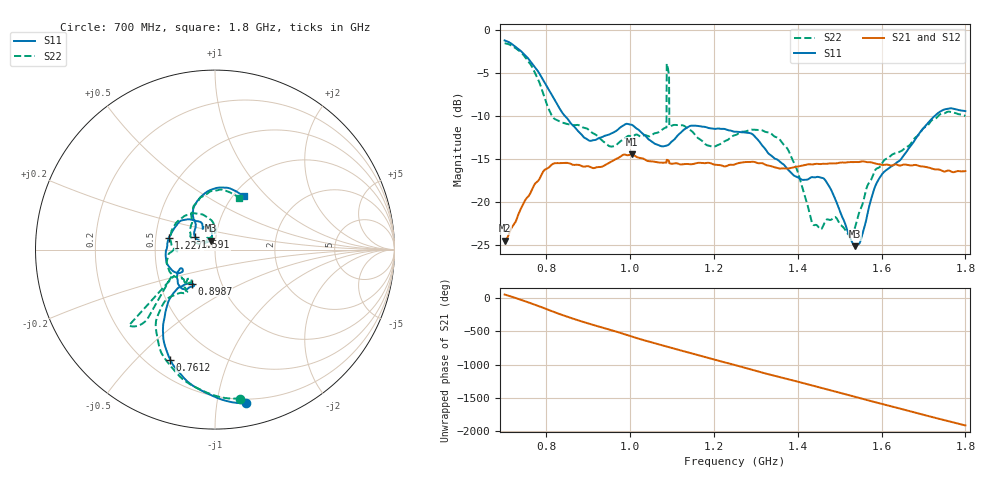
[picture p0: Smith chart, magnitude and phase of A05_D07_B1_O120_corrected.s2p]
! Created with skrf 1.9.0 (http://scikit-rf.org).
# Hz S RI R 50.0
!freq ReS11 ImS11 ReS21 ImS21 ReS12 ImS12 ReS22 ImS22
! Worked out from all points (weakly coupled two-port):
!   1601 points, 700 MHz to 1.8 GHz, reference 50 ohm
!   highest |S21| = -14.46 dB at 1.003 GHz (marker M1); lowest = -24.5 dB at 700.7 MHz (marker M2)
!   lowest |S11| = -25.2 dB at 1.536 GHz (marker M3), VSWR 1.12, Z = 47.4 + j4.7 ohm
!   |S11| at or under -10 dB: 844.4 MHz to 1.726 GHz (881.6 MHz wide, 68.6 % of centre)
!   |S22| runs from -23.8 to -1.5 dB; largest |S21 - S12| = 0.0037
!   S11 on the Smith chart (normalised r, x): 700 MHz: 0.17, -1.21; 761.2 MHz: 0.29, -0.63; 898.7 MHz: 0.72, -0.29; 1.227 GHz: 0.59, +0.08; 1.591 GHz: 0.79, +0.12; 1.8 GHz: 1.12, +0.75
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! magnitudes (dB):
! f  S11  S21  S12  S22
! 700 MHz  -1.2  -24.5  -24.3  -1.5
! 700.7 MHz  -1.2  -24.5  -24.2  -1.5
! 761.2 MHz  -3.6  -19.0  -18.9  -3.9
! 816.2 MHz  -7.8  -15.5  -15.6  -10.2
! 883.6 MHz  -12.1  -15.8  -15.7  -11.2
! 898.7 MHz  -12.8  -15.8  -15.9  -11.5
! 1.003 GHz  -11.0  -14.5  -14.6  -12.4
! 1.067 GHz  -13.4  -15.4  -15.3  -11.9
! 1.081 GHz  -13.5  -15.4  -15.4  -11.4
! 1.087 GHz  -13.4  -15.1  -15.1  -3.9
! 1.093 GHz  -13.3  -15.3  -15.3  -5.4
! 1.099 GHz  -13.0  -15.5  -15.5  -11.1
! 1.227 GHz  -11.5  -15.9  -15.8  -12.9
! 1.25 GHz  -11.8  -15.6  -15.5  -12.2
! 1.357 GHz  -15.3  -16.1  -16.1  -12.7
! 1.434 GHz  -17.1  -15.6  -15.6  -22.4
! 1.471 GHz  -17.9  -15.5  -15.5  -22.0
! 1.536 GHz  -25.2  -15.3  -15.4  -23.0
! 1.591 GHz  -17.5  -15.6  -15.6  -16.1
! 1.617 GHz  -16.1  -15.7  -15.7  -14.8
! 1.735 GHz  -9.6  -16.2  -16.3  -10.0
! 1.8 GHz  -9.4  -16.4  -16.4  -10.0
